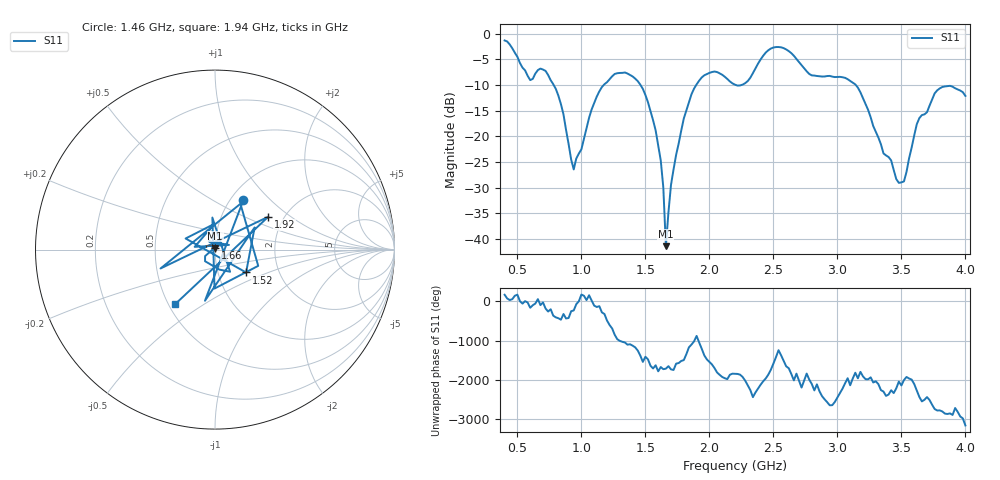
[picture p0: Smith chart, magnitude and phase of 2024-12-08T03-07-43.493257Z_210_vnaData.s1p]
!Created with skrf (http://scikit-rf.org).
# Hz S RI R 50.0
!freq ReS11 ImS11
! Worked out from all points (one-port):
!   181 points, 400 MHz to 4 GHz, reference 50 ohm
!   lowest |S11| = -41.4 dB at 1.66 GHz (marker M1), VSWR 1.02, Z = 50 + j0.851 ohm
!   |S11| at or under -10 dB: 783.7 MHz to 1.174 GHz (390.4 MHz wide, 39.9 % of centre); 1.462 GHz to 1.897 GHz (434.8 MHz wide, 25.9 % of centre); 3.144 GHz to end of sweep (the widest 3 of 4)
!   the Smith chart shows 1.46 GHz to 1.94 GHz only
!   S11 on the Smith chart (normalised r, x): 1.46 GHz: 1.14, +0.71; 1.52 GHz: 1.36, -0.36; 1.66 GHz: 1.00, +0.02; 1.92 GHz: 1.66, +0.69; 1.94 GHz: 0.54, -0.38
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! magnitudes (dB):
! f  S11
! 400 MHz  -1.3
! 600 MHz  -9.0
! 720 MHz  -7.2
! 860 MHz  -15.7
! 940 MHz  -26.4
! 1.12 GHz  -12.2
! 1.3 GHz  -7.6
! 1.46 GHz  -9.9
! 1.52 GHz  -13.3
! 1.62 GHz  -24.7
! 1.64 GHz  -30.0
! 1.66 GHz  -41.4
! 1.7 GHz  -29.4
! 1.76 GHz  -21.4
! 1.84 GHz  -13.3
! 1.92 GHz  -9.1
! 1.94 GHz  -8.5
! 2.2 GHz  -9.9
! 2.48 GHz  -2.9
! 2.66 GHz  -4.3
! 2.8 GHz  -8.1
! 3.1 GHz  -9.2
! 3.48 GHz  -29.1
! 3.52 GHz  -28.8
! 3.56 GHz  -24.3
! 3.62 GHz  -17.7
! 3.78 GHz  -11.0
! 4 GHz  -12.1
